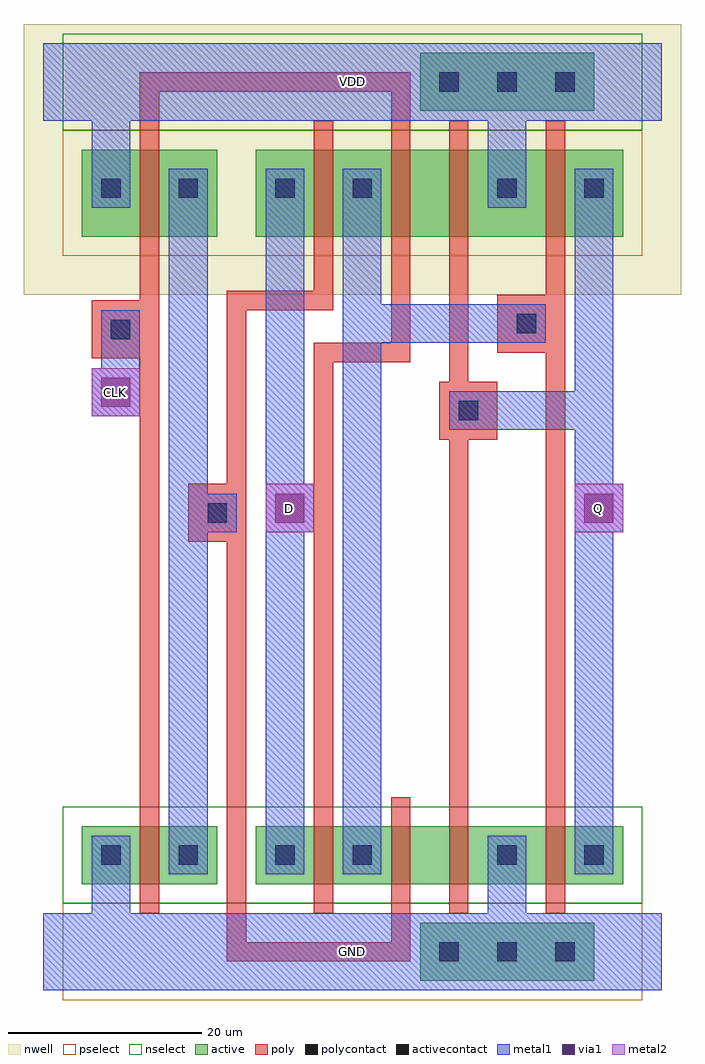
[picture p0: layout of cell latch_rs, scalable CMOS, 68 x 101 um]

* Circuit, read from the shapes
.subckt latch_rs CLK D GND Q VDD
M1 n1 CLK GND GND nfet w=6u l=2u
M2 n2 CLK D GND nfet w=6u l=2u
M3 n3 n1 n2 GND nfet w=6u l=2u
M4 GND Q n3 GND nfet w=6u l=2u
M5 Q n2 GND GND nfet w=6u l=2u
M6 n1 CLK VDD VDD pfet w=9u l=2u
M7 n2 n1 D VDD pfet w=9u l=2u
M8 n4 CLK n2 VDD pfet w=9u l=2u
M9 VDD Q n4 VDD pfet w=9u l=2u
M10 Q n2 VDD VDD pfet w=9u l=2u
.ends

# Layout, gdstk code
import gdstk
lib = gdstk.Library(unit=1e-6, precision=1e-09)
def R(c, l, rs):  # rectangles x0, y0, x1, y1
    for r in rs: c.add(gdstk.rectangle(r[:2], r[2:], *l))
def A(c, l, x, y, w, h, nx, ny, dx, dy):  # array of equal rectangles
    R(c, l, [(x+i*dx, y+j*dy, x+i*dx+w, y+j*dy+h) for i in range(nx) for j in range(ny)])
nwell = (42, 0)
active = (43, 0)
pselect = (44, 0)
nselect = (45, 0)
poly = (46, 0)
polycontact = (47, 0)
activecontact = (48, 0)
metal1 = (49, 0)
via1 = (50, 0)
metal2 = (51, 0)

latch_rs = lib.new_cell('latch_rs')
R(latch_rs, nwell, [(72,141.6,140,169.6)])
A(latch_rs, active, 113, 70.6, 6, 6, 3, 2, 6, 90)
R(latch_rs, active, [(78,80.6,92,86.6), (96,80.6,134,86.6), (78,147.6,92,150.6), (96,147.6,134,150.6), (78,150.6,92,156.6), (96,150.6,134,156.6)])
R(latch_rs, pselect, [(76,68.6,136,78.6), (76,145.6,94,158.6), (94,145.6,136,158.6)])
R(latch_rs, nselect, [(76,78.6,94,88.6), (94,78.6,136,88.6), (76,158.6,136,168.6)])
R(latch_rs, poly, [(84,77.6,86,89.6), (102,77.6,104,89.6), (110,77.6,112,89.6), (116,77.6,118,89.6), (126,77.6,128,89.6), (89,116,95,122), (115,126.6,121,132.6), (79,135,85,141), (121,135.6,127,141.6), (84,141.6,86,159.6), (102,147.6,104,159.6), (110,147.6,112,159.6), (116,147.6,118,159.6), (126,147.6,128,159.6)])
R(latch_rs, polycontact, [(91,118,93,120), (117,128.6,119,130.6), (81,137,83,139), (123,137.6,125,139.6)])
A(latch_rs, activecontact, 115, 72.6, 2, 2, 3, 2, 6, 90)
R(latch_rs, activecontact, [(80,82.6,82,84.6), (88,82.6,90,84.6), (98,82.6,100,84.6), (106,82.6,108,84.6), (121,82.6,123,84.6), (130,82.6,132,84.6), (80,151.6,82,153.6), (88,151.6,90,153.6), (98,151.6,100,153.6), (106,151.6,108,153.6), (121,151.6,123,153.6), (130,151.6,132,153.6)])
A(latch_rs, metal1, 114, 71.6, 4, 4, 3, 2, 6, 90)
R(latch_rs, metal1, [(74,69.6,138,77.6), (79,81.6,83,85.6), (87,81.6,91,85.6), (97,81.6,101,85.6), (105,81.6,109,85.6), (120,81.6,124,85.6), (129,81.6,133,85.6), (97,117,102,122), (129,117,134,122), (116,127.6,120,131.6), (79,129,84,134), (80,136,84,140), (122,136.6,126,140.6), (79,150.6,83,154.6), (87,150.6,91,154.6), (97,150.6,101,154.6), (105,150.6,109,154.6), (120,150.6,124,154.6), (129,150.6,133,154.6), (74,159.6,138,167.6)])
R(latch_rs, via1, [(98,118,101,121), (130,118,133,121), (80,130,83,133)])
R(latch_rs, metal2, [(97,117,102,122), (129,117,134,122), (79,129,84,134)])
latch_rs.add(gdstk.FlexPath([(89,145.6),(89,150.6)], 4, ends="flush", simple_path=True, layer=49, datatype=0))  # metal1
latch_rs.add(gdstk.FlexPath([(99,145.6),(99,150.6)], 4, ends="flush", simple_path=True, layer=49, datatype=0))  # metal1
latch_rs.add(gdstk.FlexPath([(107,145.6),(107,150.6)], 4, ends="flush", simple_path=True, layer=49, datatype=0))  # metal1
latch_rs.add(gdstk.FlexPath([(81,154.5),(81,160)], 4, ends="flush", simple_path=True, layer=49, datatype=0))  # metal1
latch_rs.add(gdstk.FlexPath([(89,108.6),(89,85.6)], 4, ends="flush", simple_path=True, layer=49, datatype=0))  # metal1
latch_rs.add(gdstk.FlexPath([(122,138.6),(109,138.6)], 4, ends="flush", simple_path=True, layer=49, datatype=0))  # metal1
latch_rs.add(gdstk.FlexPath([(89,108.5),(89,146)], 4, ends="flush", simple_path=True, layer=49, datatype=0))  # metal1
latch_rs.add(gdstk.FlexPath([(99,108.5),(99,146)], 4, ends="flush", simple_path=True, layer=49, datatype=0))  # metal1
latch_rs.add(gdstk.FlexPath([(82,136),(82,134)], 4, ends="flush", simple_path=True, layer=49, datatype=0))  # metal1
latch_rs.add(gdstk.FlexPath([(131,108.5),(131,146)], 4, ends="flush", simple_path=True, layer=49, datatype=0))  # metal1
latch_rs.add(gdstk.FlexPath([(131,108.6),(131,85.6)], 4, ends="flush", simple_path=True, layer=49, datatype=0))  # metal1
latch_rs.add(gdstk.FlexPath([(107,108.6),(107,85.6)], 4, ends="flush", simple_path=True, layer=49, datatype=0))  # metal1
latch_rs.add(gdstk.FlexPath([(91,119),(94,119)], 4, ends="flush", simple_path=True, layer=49, datatype=0))  # metal1
latch_rs.add(gdstk.FlexPath([(122,81.6),(122,75.6)], 4, ends="flush", simple_path=True, layer=49, datatype=0))  # metal1
latch_rs.add(gdstk.FlexPath([(131,145.6),(131,150.6)], 4, ends="flush", simple_path=True, layer=49, datatype=0))  # metal1
latch_rs.add(gdstk.FlexPath([(120,129.6),(129,129.6)], 4, ends="flush", simple_path=True, layer=49, datatype=0))  # metal1
latch_rs.add(gdstk.FlexPath([(81,75.6),(81,81.6)], 4, ends="flush", simple_path=True, layer=49, datatype=0))  # metal1
latch_rs.add(gdstk.FlexPath([(122,154.5),(122,160)], 4, ends="flush", simple_path=True, layer=49, datatype=0))  # metal1
latch_rs.add(gdstk.FlexPath([(99,108.6),(99,85.6)], 4, ends="flush", simple_path=True, layer=49, datatype=0))  # metal1
latch_rs.add(gdstk.FlexPath([(107,108.5),(107,146)], 4, ends="flush", simple_path=True, layer=49, datatype=0))  # metal1
latch_rs.add(gdstk.FlexPath([(103,147.6),(103,141.6)], 2, ends="flush", simple_path=True, layer=46, datatype=0))  # poly
latch_rs.add(gdstk.FlexPath([(117,141.6),(117,127.6)], 2, ends="flush", simple_path=True, layer=46, datatype=0))  # poly
latch_rs.add(gdstk.FlexPath([(85,89.5),(85,127)], 2, ends="flush", simple_path=True, layer=46, datatype=0))  # poly
latch_rs.add(gdstk.FlexPath([(117,89.5),(117,127)], 2, ends="flush", simple_path=True, layer=46, datatype=0))  # poly
latch_rs.add(gdstk.FlexPath([(85,141.6),(85,126.6)], 2, ends="flush", simple_path=True, layer=46, datatype=0))  # poly
latch_rs.add(gdstk.FlexPath([(85,159.6),(85,163.6),(111,163.6),(111,159.6)], 2, ends="flush", simple_path=True, layer=46, datatype=0))  # poly
latch_rs.add(gdstk.FlexPath([(94,104.5),(94,141.5)], 2, ends="flush", simple_path=True, layer=46, datatype=0))  # poly
latch_rs.add(gdstk.FlexPath([(111,147.6),(111,141.6)], 2, ends="flush", simple_path=True, layer=46, datatype=0))  # poly
latch_rs.add(gdstk.FlexPath([(103,128),(103,89.5)], 2, ends="flush", simple_path=True, layer=46, datatype=0))  # poly
latch_rs.add(gdstk.FlexPath([(94,104.6),(94,73.6),(111,73.6),(111,77.6)], 2, ends="flush", simple_path=True, layer=46, datatype=0))  # poly
latch_rs.add(gdstk.FlexPath([(117,147.6),(117,141.6)], 2, ends="flush", simple_path=True, layer=46, datatype=0))  # poly
latch_rs.add(gdstk.FlexPath([(127,141.6),(127,127.6)], 2, ends="flush", simple_path=True, layer=46, datatype=0))  # poly
latch_rs.add(gdstk.FlexPath([(111,141.6),(111,135.6),(103,135.6),(103,127.6)], 2, ends="flush", simple_path=True, layer=46, datatype=0))  # poly
latch_rs.add(gdstk.FlexPath([(127,147.6),(127,141.6)], 2, ends="flush", simple_path=True, layer=46, datatype=0))  # poly
latch_rs.add(gdstk.FlexPath([(127,127.6),(127,126.6)], 2, ends="flush", simple_path=True, layer=46, datatype=0))  # poly
latch_rs.add(gdstk.FlexPath([(104,141),(93,141)], 2, ends="flush", simple_path=True, layer=46, datatype=0))  # poly
latch_rs.add(gdstk.FlexPath([(127,127),(127,89.5)], 2, ends="flush", simple_path=True, layer=46, datatype=0))  # poly
latch_rs.add(gdstk.FlexPath([(117,127.6),(117,126.6)], 2, ends="flush", simple_path=True, layer=46, datatype=0))  # poly
latch_rs.add(gdstk.Label('CLK', (81.5,131.5), layer=51, texttype=0))
latch_rs.add(gdstk.Label('D', (99.5,119.5), layer=51, texttype=0))
latch_rs.add(gdstk.Label('Q', (131.5,119.5), layer=51, texttype=0))
latch_rs.add(gdstk.Label('VDD', (106,163.6), layer=49, texttype=0))
latch_rs.add(gdstk.Label('GND', (106,73.6), layer=49, texttype=0))

lib.write_gds('latch_rs.gds')
